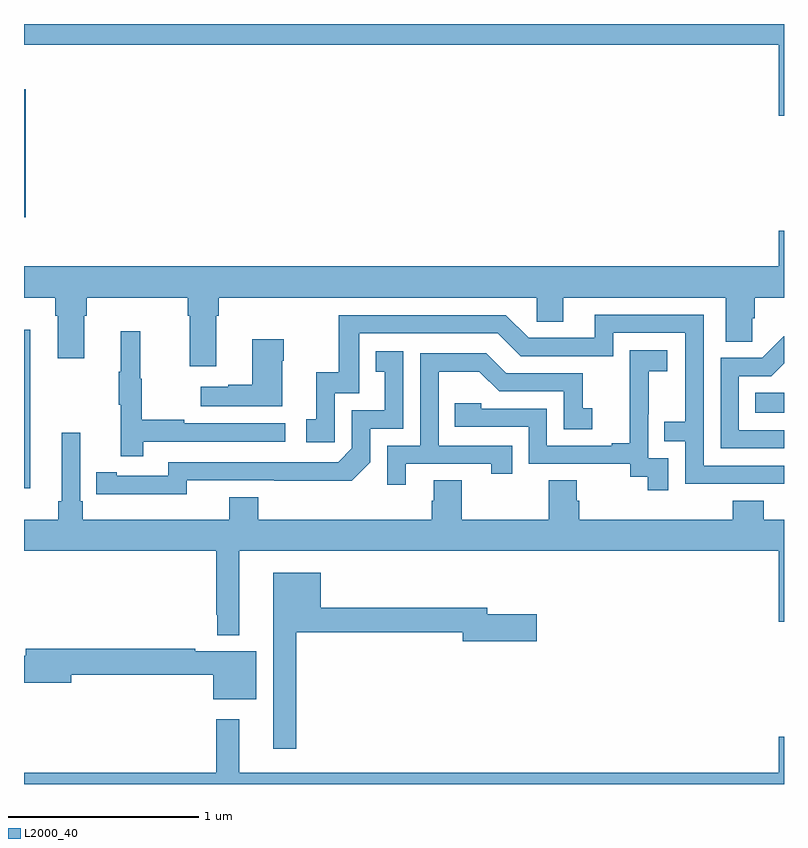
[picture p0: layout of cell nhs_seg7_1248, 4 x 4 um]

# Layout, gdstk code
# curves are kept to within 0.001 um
import gdstk
lib = gdstk.Library(unit=1e-6, precision=1e-09)
def R(c, l, rs):  # rectangles x0, y0, x1, y1
    for r in rs: c.add(gdstk.rectangle(r[:2], r[2:], *l))
def P(c, l, *ps):  # polygons
    for p in ps: c.add(gdstk.Polygon(p, *l))
L2000_40 = (2000, 40)

nhs_seg7_1248 = lib.new_cell('nhs_seg7_1248')
R(nhs_seg7_1248, L2000_40, [(197,1055.556,197.032,1056.391), (200.848,1055.954,201,1056.058), (197,1056.982,197.009,1057.657)])
P(nhs_seg7_1248, L2000_40, [(201,1058),(197,1058),(197,1057.892),(200.972,1057.892),(200.972,1057.518),(201,1057.518)],
  [(198.013,1056.464),(198.026,1056.464),(198.026,1056.56),(199.698,1056.56),(199.698,1056.433),(199.837,1056.433),(199.837,1056.56),(200.693,1056.56),(200.693,1056.328),(200.832,1056.328),(200.832,1056.451),(200.846,1056.451),(200.846,1056.56),(201,1056.56),(201,1056.913),(200.972,1056.913),(200.972,1056.724),(197,1056.724),(197,1056.56),(197.165,1056.56),(197.165,1056.464),(197.177,1056.464),(197.177,1056.24),(197.317,1056.24),(197.317,1056.464),(197.33,1056.464),(197.33,1056.56),(197.861,1056.56),(197.861,1056.464),(197.873,1056.464),(197.873,1056.198),(198.013,1056.198)],
  [(201,1055.676),(200.577,1055.676),(200.577,1056.471),(200.003,1056.471),(200.003,1056.348),(199.656,1056.348),(199.536,1056.468),(198.657,1056.468),(198.657,1056.166),(198.539,1056.166),(198.539,1055.919),(198.486,1055.919),(198.486,1055.799),(198.636,1055.799),(198.636,1056.057),(198.765,1056.057),(198.765,1056.372),(199.494,1056.372),(199.614,1056.252),(200.1,1056.252),(200.1,1056.375),(200.481,1056.375),(200.481,1055.906),(200.371,1055.906),(200.371,1055.805),(200.481,1055.805),(200.481,1055.58),(201,1055.579)],
  [(197.627,1055.802),(198.376,1055.802),(198.376,1055.898),(197.843,1055.898),(197.843,1055.918),(197.62,1055.918),(197.62,1056.132),(197.612,1056.132),(197.612,1056.382),(197.51,1056.382),(197.51,1056.169),(197.499,1056.169),(197.499,1055.995),(197.51,1055.995),(197.51,1055.724),(197.627,1055.724)],
  [(201,1055.862),(200.763,1055.862),(200.763,1056.147),(200.932,1056.147),(201,1056.215),(201,1056.356),(200.999,1056.356),(200.886,1056.243),(200.667,1056.243),(200.667,1055.766),(201,1055.766)],
  [(198.358,1056.227),(198.366,1056.227),(198.366,1056.34),(198.2,1056.34),(198.2,1056.101),(198.074,1056.101),(198.074,1056.091),(197.931,1056.091),(197.931,1055.987),(198.358,1055.987)],
  [(200.391,1055.715),(200.286,1055.715),(200.286,1055.945),(200.288,1055.945),(200.288,1056.173),(200.386,1056.173),(200.386,1056.283),(200.188,1056.283),(200.188,1056.077),(200.189,1056.077),(200.189,1055.794),(200.093,1055.794),(200.093,1055.781),(199.752,1055.781),(199.752,1055.976),(199.407,1055.976),(199.407,1056.003),(199.267,1056.003),(199.267,1055.88),(199.656,1055.88),(199.656,1055.685),(200.19,1055.685),(200.19,1055.617),(200.283,1055.617),(200.283,1055.547),(200.391,1055.547)],
  [(197.856,1055.598),(198.724,1055.597),(198.822,1055.694),(198.822,1055.871),(198.996,1055.871),(198.996,1056.277),(198.85,1056.277),(198.85,1056.171),(198.899,1056.171),(198.899,1055.967),(198.726,1055.967),(198.726,1055.766),(198.654,1055.694),(197.76,1055.694),(197.76,1055.622),(197.488,1055.622),(197.488,1055.642),(197.38,1055.642),(197.38,1055.526),(197.856,1055.525)],
  [(199.009,1055.685),(199.46,1055.685),(199.46,1055.634),(199.571,1055.634),(199.571,1055.781),(199.182,1055.781),(199.182,1056.17),(199.396,1056.17),(199.5,1056.066),(199.842,1056.066),(199.842,1055.868),(199.99,1055.868),(199.99,1055.977),(199.941,1055.977),(199.941,1056.162),(199.537,1056.162),(199.432,1056.267),(199.086,1056.267),(199.086,1055.781),(198.912,1055.781),(198.912,1055.574),(199.009,1055.574)],
  [(198.133,1055.228),(200.972,1055.228),(200.972,1054.854),(201,1054.854),(201,1055.392),(200.894,1055.392),(200.894,1055.491),(200.729,1055.491),(200.729,1055.392),(199.922,1055.392),(199.922,1055.49),(199.909,1055.49),(199.909,1055.6),(199.762,1055.6),(199.762,1055.392),(199.305,1055.392),(199.305,1055.6),(199.157,1055.6),(199.157,1055.49),(199.145,1055.49),(199.145,1055.392),(198.233,1055.392),(198.233,1055.509),(198.08,1055.509),(198.08,1055.392),(197.309,1055.392),(197.309,1055.488),(197.295,1055.488),(197.295,1055.848),(197.198,1055.848),(197.198,1055.488),(197.179,1055.488),(197.179,1055.392),(197,1055.392),(197,1055.228),(198.012,1055.228),(198.012,1054.891),(198.018,1054.891),(198.018,1054.784),(198.133,1054.784)],
  [(198.433,1054.798),(199.31,1054.798),(199.31,1054.751),(199.699,1054.751),(199.699,1054.893),(199.438,1054.893),(199.438,1054.927),(198.562,1054.927),(198.562,1055.113),(198.311,1055.113),(198.311,1054.185),(198.433,1054.185)],
  [(198.223,1054.699),(197.9,1054.699),(197.9,1054.712),(197.009,1054.712),(197.009,1054.676),(197,1054.676),(197,1054.534),(197.248,1054.534),(197.248,1054.576),(197.996,1054.576),(197.996,1054.445),(198.223,1054.445)],
  [(201,1054.249),(200.972,1054.249),(200.972,1054.06),(198.133,1054.06),(198.133,1054.342),(198.012,1054.342),(198.012,1054.06),(197,1054.06),(197,1054),(201,1054)])

lib.write_gds('nhs_seg7_1248.gds')
